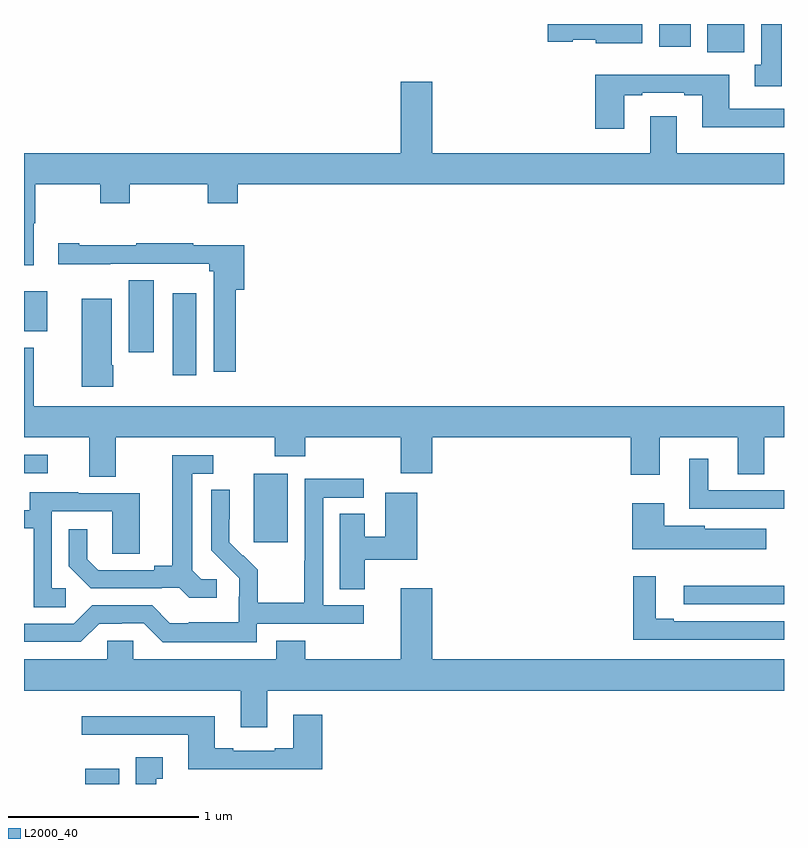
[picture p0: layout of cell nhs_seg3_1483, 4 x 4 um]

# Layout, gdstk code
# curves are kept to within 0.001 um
import gdstk
lib = gdstk.Library(unit=1e-6, precision=1e-09)
def R(c, l, rs):  # rectangles x0, y0, x1, y1
    for r in rs: c.add(gdstk.rectangle(r[:2], r[2:], *l))
def P(c, l, *ps):  # polygons
    for p in ps: c.add(gdstk.Polygon(p, *l))
L2000_40 = (2000, 40)

nhs_seg3_1483 = lib.new_cell('nhs_seg3_1483')
R(nhs_seg3_1483, L2000_40, [(187.322,724.4,187.501,724.48), (190.473,725.346,191,725.444), (188.21,725.673,188.389,726.034), (187,726.036,187.126,726.132), (187.784,726.552,187.906,726.982), (187.55,726.672,187.684,727.052), (187,726.782,187.123,726.994), (190.595,728.252,190.792,728.4), (190.343,728.28,190.51,728.4)])
P(nhs_seg3_1483, L2000_40, [(190.255,728.4),(189.756,728.4),(189.756,728.306),(189.888,728.306),(189.888,728.318),(190.008,728.318),(190.008,728.3),(190.255,728.3)],
  [(190.987,728.4),(190.88,728.4),(190.88,728.186),(190.847,728.186),(190.847,728.073),(190.987,728.073)],
  [(190.159,728.025),(190.255,728.025),(190.255,728.037),(190.475,728.037),(190.475,728.025),(190.571,728.025),(190.571,727.856),(191,727.856),(191,727.953),(190.711,727.953),(190.711,728.134),(190.007,728.134),(190.007,727.848),(190.159,727.848)],
  [(187.051,727.352),(187.059,727.352),(187.059,727.556),(187.402,727.556),(187.402,727.457),(187.557,727.457),(187.557,727.556),(187.966,727.556),(187.966,727.457),(188.126,727.457),(188.126,727.556),(191,727.556),(191,727.72),(190.435,727.72),(190.435,727.915),(190.295,727.915),(190.295,727.72),(189.148,727.72),(189.148,728.095),(188.984,728.095),(188.984,727.72),(187,727.72),(187,727.131),(187.051,727.131)],
  [(188.114,727.001),(188.159,727.001),(188.159,727.236),(187.892,727.236),(187.892,727.246),(187.591,727.246),(187.591,727.236),(187.291,727.236),(187.291,727.246),(187.179,727.246),(187.179,727.136),(187.454,727.136),(187.454,727.137),(187.976,727.137),(187.976,727.098),(187.998,727.098),(187.998,726.57),(188.114,726.57)],
  [(187.47,726.604),(187.462,726.604),(187.462,726.955),(187.304,726.955),(187.304,726.492),(187.47,726.492)],
  [(187.051,726.697),(187,726.697),(187,726.224),(187.343,726.224),(187.343,726.016),(187.483,726.016),(187.483,726.224),(188.32,726.224),(188.32,726.125),(188.48,726.125),(188.48,726.224),(188.984,726.224),(188.984,726.036),(189.148,726.036),(189.148,726.224),(190.193,726.224),(190.193,726.027),(190.345,726.027),(190.345,726.224),(190.757,726.224),(190.757,726.031),(190.897,726.031),(190.897,726.224),(191,726.224),(191,726.388),(187.051,726.388)],
  [(188.014,725.478),(187.932,725.478),(187.885,725.525),(187.885,726.033),(187.996,726.033),(187.996,726.129),(187.781,726.129),(187.781,725.549),(187.685,725.549),(187.685,725.526),(187.39,725.526),(187.333,725.583),(187.333,725.74),(187.236,725.74),(187.236,725.546),(187.352,725.43),(187.724,725.43),(187.724,725.433),(187.818,725.433),(187.87,725.381),(188.014,725.381)],
  [(191,725.946),(190.6,725.946),(190.6,726.112),(190.502,726.112),(190.502,725.85),(191,725.85)],
  [(188.226,725.244),(188.788,725.244),(188.788,725.34),(188.574,725.34),(188.574,725.907),(188.788,725.907),(188.788,726.006),(188.478,726.006),(188.478,725.576),(188.476,725.576),(188.476,725.353),(188.231,725.353),(188.231,725.527),(188.154,725.604),(188.151,725.601),(188.081,725.672),(188.082,725.948),(187.986,725.948),(187.986,725.63),(188.132,725.482),(188.132,725.385),(188.13,725.385),(188.13,725.251),(187.867,725.251),(187.867,725.247),(187.767,725.247),(187.674,725.34),(187.359,725.34),(187.263,725.244),(187,725.244),(187,725.148),(187.299,725.148),(187.395,725.244),(187.514,725.244),(187.514,725.247),(187.629,725.247),(187.729,725.147),(188.226,725.147)],
  [(187.219,725.43),(187.146,725.43),(187.146,725.835),(187.464,725.835),(187.464,725.611),(187.609,725.611),(187.609,725.931),(187.285,725.931),(187.285,725.935),(187.031,725.935),(187.031,725.841),(187,725.841),(187,725.745),(187.05,725.745),(187.05,725.329),(187.219,725.329)],
  [(188.794,725.579),(189.071,725.579),(189.071,725.932),(188.9,725.932),(188.9,725.701),(188.794,725.701),(188.794,725.822),(188.663,725.822),(188.663,725.425),(188.794,725.425)],
  [(190.906,725.743),(190.584,725.743),(190.584,725.758),(190.369,725.758),(190.369,725.878),(190.202,725.878),(190.202,725.636),(190.906,725.636)],
  [(191,725.256),(190.42,725.256),(190.42,725.269),(190.324,725.269),(190.324,725.494),(190.207,725.494),(190.207,725.16),(191,725.16)],
  [(188.281,724.892),(191,724.892),(191,725.056),(189.148,725.056),(189.148,725.431),(188.984,725.431),(188.984,725.056),(188.48,725.056),(188.48,725.155),(188.327,725.155),(188.327,725.056),(187.575,725.056),(187.575,725.154),(187.437,725.154),(187.437,725.056),(187,725.056),(187,724.892),(188.141,724.892),(188.141,724.698),(188.281,724.698)],
  [(188.57,724.765),(188.417,724.765),(188.417,724.588),(188.321,724.588),(188.321,724.575),(188.101,724.575),(188.101,724.588),(188.005,724.588),(188.005,724.756),(187.305,724.756),(187.305,724.659),(187.865,724.659),(187.865,724.478),(188.57,724.478)],
  [(187.696,724.427),(187.729,724.427),(187.729,724.54),(187.589,724.54),(187.589,724.4),(187.696,724.4)])

lib.write_gds('nhs_seg3_1483.gds')
